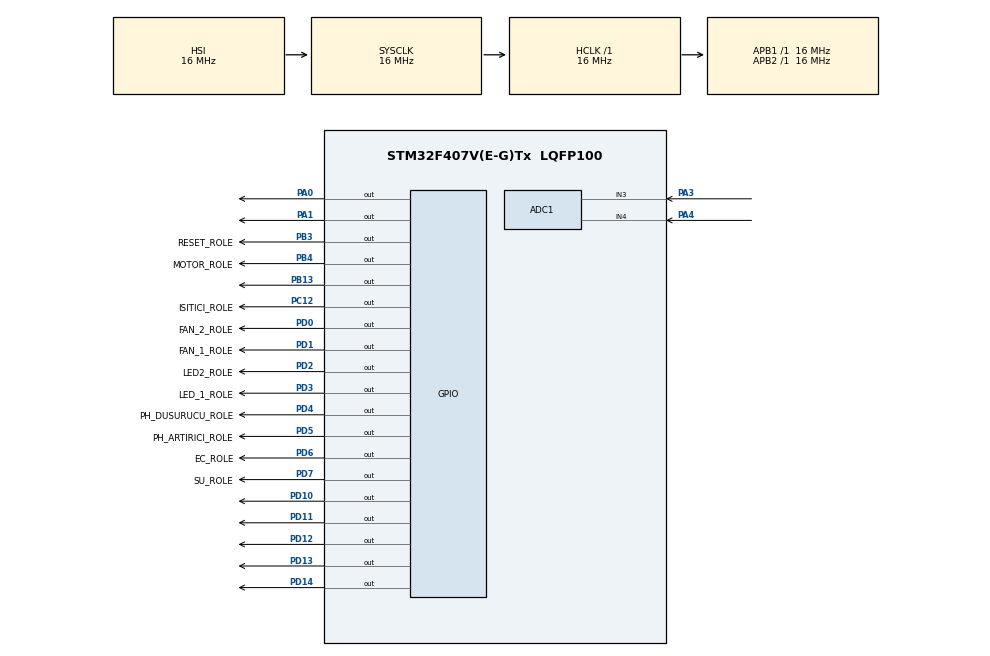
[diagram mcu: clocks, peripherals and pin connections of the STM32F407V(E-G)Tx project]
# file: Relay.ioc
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ADC1.Channel-0\#ChannelRegularConversion=ADC_CHANNEL_3
ADC1.NbrOfConversionFlag=1
ADC1.Rank-0\#ChannelRegularConversion=1
ADC1.SamplingTime-0\#ChannelRegularConversion=ADC_SAMPLETIME_3CYCLES
ADC1.master=1
Mcu.Family=STM32F4
Mcu.Name=STM32F407V(E-G)Tx
Mcu.Package=LQFP100
NVIC.PriorityGroup=NVIC_PRIORITYGROUP_4
PA0-WKUP.Signal=GPIO_Output
PA1.Signal=GPIO_Output
PA13.Mode=Serial_Wire
PA13.Signal=SYS_JTMS-SWDIO
PA14.Mode=Serial_Wire
PA14.Signal=SYS_JTCK-SWCLK
PA3.Signal=ADCx_IN3
PA4.Signal=ADCx_IN4
PB13.Signal=GPIO_Output
PB3.GPIO_Label=RESET_ROLE
PB3.Signal=GPIO_Output
PB4.GPIO_Label=MOTOR_ROLE
PB4.Signal=GPIO_Output
PC12.GPIO_Label=ISITICI_ROLE
PC12.Signal=GPIO_Output
PD0.GPIO_Label=FAN_2_ROLE
PD0.Signal=GPIO_Output
PD1.GPIO_Label=FAN_1_ROLE
PD1.Signal=GPIO_Output
PD10.Signal=GPIO_Output
PD11.Signal=GPIO_Output
PD12.Signal=GPIO_Output
PD13.Signal=GPIO_Output
PD14.Signal=GPIO_Output
PD2.GPIO_Label=LED2_ROLE
PD2.Signal=GPIO_Output
PD3.GPIO_Label=LED_1_ROLE
PD3.Signal=GPIO_Output
PD4.GPIO_Label=PH_DUSURUCU_ROLE
PD4.Signal=GPIO_Output
PD5.GPIO_Label=PH_ARTIRICI_ROLE
PD5.Signal=GPIO_Output
PD6.GPIO_Label=EC_ROLE
PD6.Signal=GPIO_Output
PD7.GPIO_Label=SU_ROLE
PD7.Signal=GPIO_Output
PH0-OSC_IN.Mode=HSE-External-Oscillator
PH0-OSC_IN.Signal=RCC_OSC_IN
PH1-OSC_OUT.Mode=HSE-External-Oscillator
PH1-OSC_OUT.Signal=RCC_OSC_OUT
ProjectManager.HeapSize=0x200
ProjectManager.StackSize=0x400
ProjectManager.TargetToolchain=STM32CubeIDE
RCC.AHBFreq_Value=16000000
RCC.APB1Freq_Value=16000000
RCC.APB2Freq_Value=16000000
RCC.CortexFreq_Value=16000000
RCC.HSE_VALUE=25000000
RCC.HSI_VALUE=16000000
RCC.LSE_VALUE=32768
RCC.SYSCLKFreq_VALUE=16000000
RCC.VCOOutputFreq_Value=192000000
SH.ADCx_IN3.0=ADC1_IN3,IN3
SH.ADCx_IN4.0=ADC1_IN4,IN4
board=custom

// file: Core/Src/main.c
/* USER CODE BEGIN Header */
/**
  ******************************************************************************
  * @file           : main.c
  * @brief          : Main program body
  ******************************************************************************
  * @attention
  *
  * Copyright (c) 2024 STMicroelectronics.
  * All rights reserved.
  *
  * This software is licensed under terms that can be found in the LICENSE file
  * in the root directory of this software component.
  * If no LICENSE file comes with this software, it is provided AS-IS.
  *
  ******************************************************************************
  */
/* USER CODE END Header */
#include "main.h"

ADC_HandleTypeDef hadc1;

void SystemClock_Config(void);
static void MX_GPIO_Init(void);
static void MX_ADC1_Init(void);

/* USER CODE BEGIN 0 */
uint32_t systicktimer_led   = 0;

int durum = 0;

/* USER CODE END 0 */

int main(void)
{

  /* MCU Configuration--------------------------------------------------------*/

  /* Reset of all peripherals, Initializes the Flash interface and the Systick. */
  HAL_Init();

  /* Configure the system clock */
  SystemClock_Config();

  /* Initialize all configured peripherals */
  MX_GPIO_Init();
  MX_ADC1_Init();
  /* USER CODE BEGIN 2 */

  SysTick_Config(SystemCoreClock / 1000); // Systicktimer 1ms ayarlandı.

  HAL_GPIO_WritePin(GPIOB, GPIO_PIN_4 | GPIO_PIN_3, GPIO_PIN_RESET);
  HAL_GPIO_WritePin(GPIOD, GPIO_PIN_7 | GPIO_PIN_6 | GPIO_PIN_5 | GPIO_PIN_4 | GPIO_PIN_3 | GPIO_PIN_2 | GPIO_PIN_1 | GPIO_PIN_0, GPIO_PIN_RESET);
  HAL_GPIO_WritePin(GPIOC, GPIO_PIN_12, GPIO_PIN_RESET);
  HAL_Delay(3000);
  HAL_GPIO_WritePin(GPIOB, GPIO_PIN_4 | GPIO_PIN_3, GPIO_PIN_SET);
  HAL_GPIO_WritePin(GPIOD, GPIO_PIN_7 | GPIO_PIN_6 | GPIO_PIN_5 | GPIO_PIN_4 | GPIO_PIN_3 | GPIO_PIN_2 | GPIO_PIN_1 | GPIO_PIN_0, GPIO_PIN_SET);
  HAL_GPIO_WritePin(GPIOC, GPIO_PIN_12, GPIO_PIN_SET);
  HAL_Delay(3000);
  /* USER CODE END 2 */

  /* Infinite loop */
  while (1)
  {

    /* USER CODE BEGIN 3 */
	  HAL_GPIO_WritePin(GPIOB, GPIO_PIN_13, GPIO_PIN_SET);
	  HAL_Delay(3000);
	  HAL_GPIO_WritePin(GPIOB, GPIO_PIN_13, GPIO_PIN_RESET);
	  HAL_Delay(3000);
	  /*
	  HAL_GPIO_WritePin(GPIOB, GPIO_PIN_4 | GPIO_PIN_3, GPIO_PIN_RESET);
	  HAL_GPIO_WritePin(GPIOD, GPIO_PIN_7 | GPIO_PIN_6 | GPIO_PIN_5 | GPIO_PIN_4 | GPIO_PIN_3 | GPIO_PIN_2 | GPIO_PIN_1 | GPIO_PIN_0, GPIO_PIN_RESET);
	  HAL_GPIO_WritePin(GPIOC, GPIO_PIN_12, GPIO_PIN_RESET);

	  while(systicktimer_led >= 10000)
	  {
		  HAL_GPIO_WritePin(GPIOB, GPIO_PIN_4 | GPIO_PIN_3, GPIO_PIN_SET);
		  HAL_GPIO_WritePin(GPIOD, GPIO_PIN_7 | GPIO_PIN_6 | GPIO_PIN_5 | GPIO_PIN_4 | GPIO_PIN_3 | GPIO_PIN_2 | GPIO_PIN_1 | GPIO_PIN_0, GPIO_PIN_SET);
		  HAL_GPIO_WritePin(GPIOC, GPIO_PIN_12, GPIO_PIN_SET);

		  if(systicktimer_led >= 20000 )
		  {
			  systicktimer_led = 0;
		  }
	  }
	  */

  }
  /* USER CODE END 3 */
}

void SystemClock_Config(void)
{
  RCC_OscInitTypeDef RCC_OscInitStruct = {0};
  RCC_ClkInitTypeDef RCC_ClkInitStruct = {0};

  /** Configure the main internal regulator output voltage
  */
  __HAL_RCC_PWR_CLK_ENABLE();
  __HAL_PWR_VOLTAGESCALING_CONFIG(PWR_REGULATOR_VOLTAGE_SCALE1);

  /** Initializes the RCC Oscillators according to the specified parameters
  * in the RCC_OscInitTypeDef structure.
  */
  RCC_OscInitStruct.OscillatorType = RCC_OSCILLATORTYPE_HSI;
  RCC_OscInitStruct.HSIState = RCC_HSI_ON;
  RCC_OscInitStruct.HSICalibrationValue = RCC_HSICALIBRATION_DEFAULT;
  RCC_OscInitStruct.PLL.PLLState = RCC_PLL_NONE;
  if (HAL_RCC_OscConfig(&RCC_OscInitStruct) != HAL_OK)
  {
    Error_Handler();
  }

  /** Initializes the CPU, AHB and APB buses clocks
  */
  RCC_ClkInitStruct.ClockType = RCC_CLOCKTYPE_HCLK|RCC_CLOCKTYPE_SYSCLK
                              |RCC_CLOCKTYPE_PCLK1|RCC_CLOCKTYPE_PCLK2;
  RCC_ClkInitStruct.SYSCLKSource = RCC_SYSCLKSOURCE_HSI;
  RCC_ClkInitStruct.AHBCLKDivider = RCC_SYSCLK_DIV1;
  RCC_ClkInitStruct.APB1CLKDivider = RCC_HCLK_DIV1;
  RCC_ClkInitStruct.APB2CLKDivider = RCC_HCLK_DIV1;

  if (HAL_RCC_ClockConfig(&RCC_ClkInitStruct, FLASH_LATENCY_0) != HAL_OK)
  {
    Error_Handler();
  }
}

static void MX_ADC1_Init(void)
{

  ADC_ChannelConfTypeDef sConfig = {0};

  /** Configure the global features of the ADC (Clock, Resolution, Data Alignment and number of conversion)
  */
  hadc1.Instance = ADC1;
  hadc1.Init.ClockPrescaler = ADC_CLOCK_SYNC_PCLK_DIV2;
  hadc1.Init.Resolution = ADC_RESOLUTION_12B;
  hadc1.Init.ScanConvMode = DISABLE;
  hadc1.Init.ContinuousConvMode = DISABLE;
  hadc1.Init.DiscontinuousConvMode = DISABLE;
  hadc1.Init.ExternalTrigConvEdge = ADC_EXTERNALTRIGCONVEDGE_NONE;
  hadc1.Init.ExternalTrigConv = ADC_SOFTWARE_START;
  hadc1.Init.DataAlign = ADC_DATAALIGN_RIGHT;
  hadc1.Init.NbrOfConversion = 1;
  hadc1.Init.DMAContinuousRequests = DISABLE;
  hadc1.Init.EOCSelection = ADC_EOC_SINGLE_CONV;
  if (HAL_ADC_Init(&hadc1) != HAL_OK)
  {
    Error_Handler();
  }

  /** Configure for the selected ADC regular channel its corresponding rank in the sequencer and its sample time.
  */
  sConfig.Channel = ADC_CHANNEL_3;
  sConfig.Rank = 1;
  sConfig.SamplingTime = ADC_SAMPLETIME_3CYCLES;
  if (HAL_ADC_ConfigChannel(&hadc1, &sConfig) != HAL_OK)
  {
    Error_Handler();
  }

}

static void MX_GPIO_Init(void)
{
  GPIO_InitTypeDef GPIO_InitStruct = {0};

  /* GPIO Ports Clock Enable */
  __HAL_RCC_GPIOH_CLK_ENABLE();
  __HAL_RCC_GPIOA_CLK_ENABLE();
  __HAL_RCC_GPIOB_CLK_ENABLE();
  __HAL_RCC_GPIOD_CLK_ENABLE();
  __HAL_RCC_GPIOC_CLK_ENABLE();

  /*Configure GPIO pin Output Level */
  HAL_GPIO_WritePin(GPIOA, GPIO_PIN_0|GPIO_PIN_1, GPIO_PIN_RESET);

  /*Configure GPIO pin Output Level */
  HAL_GPIO_WritePin(GPIOB, GPIO_PIN_13|RESET_ROLE_Pin|MOTOR_ROLE_Pin, GPIO_PIN_RESET);

  /*Configure GPIO pin Output Level */
  HAL_GPIO_WritePin(GPIOD, GPIO_PIN_10|GPIO_PIN_11|GPIO_PIN_12|GPIO_PIN_13
                          |GPIO_PIN_14|FAN_2_ROLE_Pin|FAN_1_ROLE_Pin|LED2_ROLE_Pin
                          |LED_1_ROLE_Pin|PH_DUSURUCU_ROLE_Pin|PH_ARTIRICI_ROLE_Pin|EC_ROLE_Pin
                          |SU_ROLE_Pin, GPIO_PIN_RESET);

  /*Configure GPIO pin Output Level */
  HAL_GPIO_WritePin(ISITICI_ROLE_GPIO_Port, ISITICI_ROLE_Pin, GPIO_PIN_RESET);

  /*Configure GPIO pins : PA0 PA1 */
  GPIO_InitStruct.Pin = GPIO_PIN_0|GPIO_PIN_1;
  GPIO_InitStruct.Mode = GPIO_MODE_OUTPUT_PP;
  GPIO_InitStruct.Pull = GPIO_NOPULL;
  GPIO_InitStruct.Speed = GPIO_SPEED_FREQ_LOW;
  HAL_GPIO_Init(GPIOA, &GPIO_InitStruct);

  /*Configure GPIO pins : PB13 RESET_ROLE_Pin MOTOR_ROLE_Pin */
  GPIO_InitStruct.Pin = GPIO_PIN_13|RESET_ROLE_Pin|MOTOR_ROLE_Pin;
  GPIO_InitStruct.Mode = GPIO_MODE_OUTPUT_PP;
  GPIO_InitStruct.Pull = GPIO_NOPULL;
  GPIO_InitStruct.Speed = GPIO_SPEED_FREQ_LOW;
  HAL_GPIO_Init(GPIOB, &GPIO_InitStruct);

  /*Configure GPIO pins : PD10 PD11 PD12 PD13
                           PD14 FAN_2_ROLE_Pin FAN_1_ROLE_Pin LED2_ROLE_Pin
                           LED_1_ROLE_Pin PH_DUSURUCU_ROLE_Pin PH_ARTIRICI_ROLE_Pin EC_ROLE_Pin
                           SU_ROLE_Pin */
  GPIO_InitStruct.Pin = GPIO_PIN_10|GPIO_PIN_11|GPIO_PIN_12|GPIO_PIN_13
                          |GPIO_PIN_14|FAN_2_ROLE_Pin|FAN_1_ROLE_Pin|LED2_ROLE_Pin
                          |LED_1_ROLE_Pin|PH_DUSURUCU_ROLE_Pin|PH_ARTIRICI_ROLE_Pin|EC_ROLE_Pin
                          |SU_ROLE_Pin;
  GPIO_InitStruct.Mode = GPIO_MODE_OUTPUT_PP;
  GPIO_InitStruct.Pull = GPIO_NOPULL;
  GPIO_InitStruct.Speed = GPIO_SPEED_FREQ_LOW;
  HAL_GPIO_Init(GPIOD, &GPIO_InitStruct);

  /*Configure GPIO pin : ISITICI_ROLE_Pin */
  GPIO_InitStruct.Pin = ISITICI_ROLE_Pin;
  GPIO_InitStruct.Mode = GPIO_MODE_OUTPUT_PP;
  GPIO_InitStruct.Pull = GPIO_NOPULL;
  GPIO_InitStruct.Speed = GPIO_SPEED_FREQ_LOW;
  HAL_GPIO_Init(ISITICI_ROLE_GPIO_Port, &GPIO_InitStruct);

}

void Error_Handler(void)
{
  __disable_irq();
  while (1)
  {
  }
}
